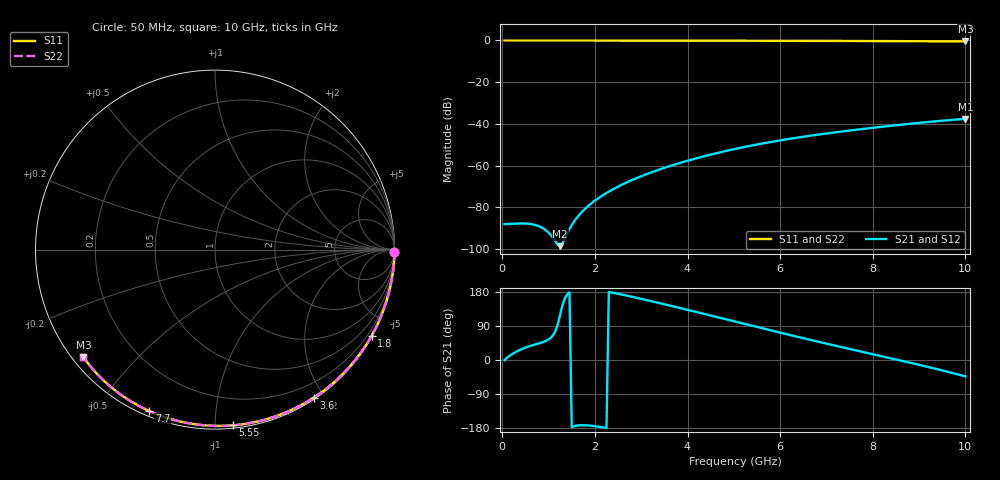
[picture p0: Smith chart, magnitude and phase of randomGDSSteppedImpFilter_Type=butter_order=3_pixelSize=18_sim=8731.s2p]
! freq	dB(S11)	phase(S11)	dB(S12)	phase(S12)
!  dB(S21)	phase(S21)	dB(S22)	phase(S22)
!S-par simulation data
#  GHz  S  DB  R 50
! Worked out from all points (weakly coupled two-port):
!   200 points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, 50 MHz to 10 GHz, reference 50 ohm
!   highest |S21| = -37.62 dB at 10 GHz (marker M1); lowest = -98.7 dB at 1.25 GHz (marker M2)
!   lowest |S11| = -0.5 dB at 10 GHz (marker M3), VSWR 36.81, Z = 1.53 - j17.8 ohm
!   |S11| at or under -10 dB: nowhere
!   |S22| runs from -0.5 to 0.0 dB; largest |S21 - S12| = 0
!   S11 on the Smith chart (normalised r, x): 50 MHz: open; 1.8 GHz: 0.03, -3.88; 3.6 GHz: 0.02, -1.87; 5.55 GHz: 0.02, -1.11; 7.7 GHz: 0.02, -0.67; 10 GHz: 0.03, -0.36
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0.05  -0.00 -0.8  -88.11 -0.4  -88.11 -0.4  -0.00 -0.8
0.65  -0.01 -10.6  -88.21 38.9  -88.21 38.9  -0.01 -10.6
1.25  -0.03 -20.2  -98.67 120.6  -98.67 120.6  -0.03 -20.2
1.75  -0.04 -28.1  -81.55 -172.1  -81.55 -172.1  -0.04 -28.1
1.8  -0.04 -28.9  -80.48 -172.3  -80.48 -172.3  -0.04 -28.9
1.85  -0.04 -29.7  -79.49 -172.6  -79.49 -172.6  -0.04 -29.7
2  -0.04 -32.0  -76.82 -174.5  -76.82 -174.5  -0.04 -32.0
2.15  -0.04 -34.4  -74.52 -177.3  -74.52 -177.3  -0.04 -34.4
2.45  -0.05 -39.0  -70.66 175.9  -70.66 175.9  -0.05 -39.0
2.85  -0.06 -45.1  -66.49 165.5  -66.49 165.5  -0.06 -45.1
3.1  -0.06 -48.9  -64.26 158.5  -64.26 158.5  -0.06 -48.9
3.4  -0.07 -53.4  -61.85 150.0  -61.85 150.0  -0.07 -53.4
3.6  -0.08 -56.4  -60.37 144.2  -60.37 144.2  -0.08 -56.4
4.3  -0.09 -66.6  -55.87 123.4  -55.87 123.4  -0.09 -66.6
5.05  -0.12 -77.2  -51.92 100.8  -51.92 100.8  -0.12 -77.2
5.55  -0.14 -84.1  -49.70 85.7  -49.70 85.7  -0.14 -84.1
6.1  -0.16 -91.5  -47.56 69.2  -47.56 69.2  -0.16 -91.5
6.7  -0.19 -99.4  -45.54 51.7  -45.54 51.7  -0.19 -99.4
7.7  -0.25 -112.2  -42.67 23.6  -42.67 23.6  -0.25 -112.2
8.35  -0.30 -120.3  -41.03 5.7  -41.03 5.7  -0.30 -120.3
9.2  -0.38 -130.8  -39.09 -18.5  -39.09 -18.5  -0.38 -130.8
10  -0.47 -140.7  -37.62 -43.2  -37.62 -43.2  -0.47 -140.7
